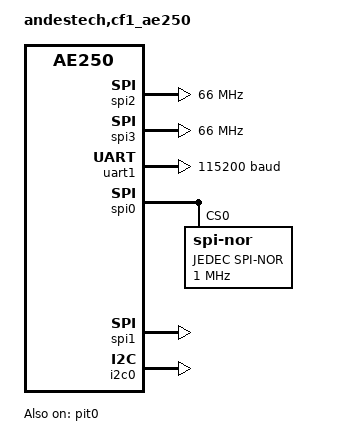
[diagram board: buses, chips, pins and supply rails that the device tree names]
/dts-v1/;

#include <andes_v5_ae250.dtsi>

/ {
	model = "andestech,cf1_ae250";
	compatible = "andestech,cf1_ae250", "andestech,ae250";

	aliases {
		gpio-0 = &gpio0;
		counter-0 = &pit0;
		spi-0 = &spi0;
		spi-1 = &spi1;
		spi-2 = &spi2;
		spi-3 = &spi3;
		i2c-0 = &i2c0;
	};

	chosen {
		zephyr,console = &uart1;
		zephyr,shell-uart = &uart1;
		zephyr,flash = &flash0;
	};

	soc {
		spi2: spi@f1900000 {
			compatible = "andestech,atcspi200";
			label = "spi_2";
			reg = <0xf1900000 0x1000>;
			reg-names = "control";
			#address-cells = <1>;
			#size-cells = <0>;
			num-cs = <1>;
			clock-frequency = <66000000>;
			interrupts = <26 1>;
			interrupt-parent = <&plic0>;
			status = "disabled";
		};

		spi3: spi@f1a00000 {
			compatible = "andestech,atcspi200";
			label = "spi_3";
			reg = <0xf1a00000 0x1000>;
			reg-names = "control";
			#address-cells = <1>;
			#size-cells = <0>;
			num-cs = <1>;
			clock-frequency = <66000000>;
			interrupts = <27 1>;
			interrupt-parent = <&plic0>;
			status = "disabled";
		};
	};
};

&ilm {
	reg = <0x00000000 0x00040000>;
};

&dlm {
	reg = <0x00200000 0x00020000>;
};

&uart1 {
	status = "okay";
	clock-frequency = <19660800>;
	current-speed = <115200>;
};

&gpio0 {
	status = "okay";
};

&pit0 {
	status = "okay";
};

&spi0 {
	status = "okay";
	flash0: flash@0 {
		compatible = "jedec,spi-nor";
		size = <16777216>;
		label = "JEDEC SPI-NOR";
		spi-max-frequency = <1000000>;
		reg = <0>;
		status = "okay";
		jedec-id = [c2 20 16];
	};
};

&spi1 {
	status = "okay";
};

&spi2 {
	status = "okay";
};

&spi3 {
	status = "okay";
};

&i2c0 {
	status = "okay";
};
